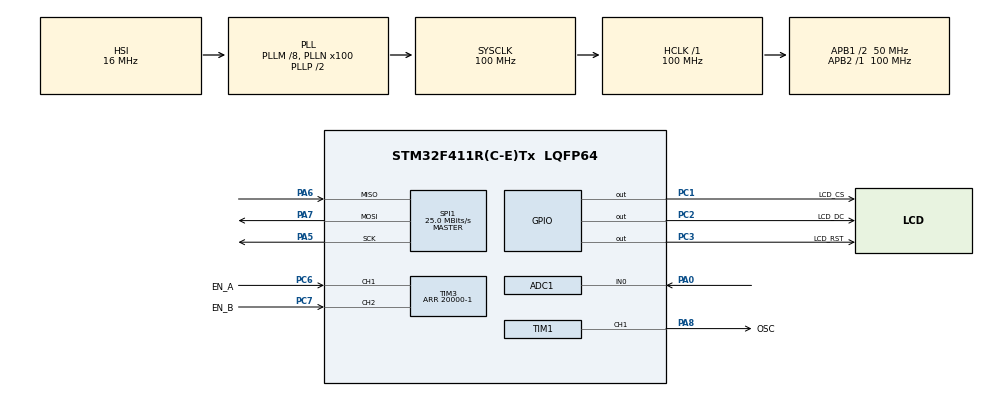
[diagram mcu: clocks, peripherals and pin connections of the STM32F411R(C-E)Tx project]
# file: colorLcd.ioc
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ADC1.Channel-0\#ChannelRegularConversion=ADC_CHANNEL_0
ADC1.ContinuousConvMode=DISABLE
ADC1.DMAContinuousRequests=ENABLE
ADC1.ExternalTrigConv=ADC_EXTERNALTRIGCONV_T2_TRGO
ADC1.NbrOfConversionFlag=1
ADC1.Rank-0\#ChannelRegularConversion=1
ADC1.SamplingTime-0\#ChannelRegularConversion=ADC_SAMPLETIME_3CYCLES
ADC1.master=1
Dma.ADC1.1.Direction=DMA_PERIPH_TO_MEMORY
Dma.ADC1.1.FIFOMode=DMA_FIFOMODE_DISABLE
Dma.ADC1.1.Instance=DMA2_Stream0
Dma.ADC1.1.MemDataAlignment=DMA_MDATAALIGN_HALFWORD
Dma.ADC1.1.MemInc=DMA_MINC_ENABLE
Dma.ADC1.1.Mode=DMA_CIRCULAR
Dma.ADC1.1.PeriphDataAlignment=DMA_PDATAALIGN_HALFWORD
Dma.ADC1.1.PeriphInc=DMA_PINC_DISABLE
Dma.ADC1.1.Priority=DMA_PRIORITY_LOW
Dma.Request0=SPI1_TX
Dma.Request1=ADC1
Dma.SPI1_TX.0.Direction=DMA_MEMORY_TO_PERIPH
Dma.SPI1_TX.0.FIFOMode=DMA_FIFOMODE_DISABLE
Dma.SPI1_TX.0.Instance=DMA2_Stream2
Dma.SPI1_TX.0.MemDataAlignment=DMA_MDATAALIGN_BYTE
Dma.SPI1_TX.0.MemInc=DMA_MINC_ENABLE
Dma.SPI1_TX.0.Mode=DMA_NORMAL
Dma.SPI1_TX.0.PeriphDataAlignment=DMA_PDATAALIGN_BYTE
Dma.SPI1_TX.0.PeriphInc=DMA_PINC_DISABLE
Dma.SPI1_TX.0.Priority=DMA_PRIORITY_LOW
Mcu.Family=STM32F4
Mcu.Name=STM32F411R(C-E)Tx
Mcu.Package=LQFP64
NVIC.DMA2_Stream0_IRQn=true\:0\:0\:false\:false\:true\:false\:true\:true
NVIC.DMA2_Stream2_IRQn=true\:0\:0\:false\:false\:true\:false\:true\:true
NVIC.PriorityGroup=NVIC_PRIORITYGROUP_4
NVIC.SPI1_IRQn=true\:0\:0\:false\:false\:true\:true\:true\:true
NVIC.TIM2_IRQn=true\:0\:0\:false\:false\:true\:true\:true\:true
PA0-WKUP.Signal=ADCx_IN0
PA5.Mode=Full_Duplex_Master
PA5.Signal=SPI1_SCK
PA6.Mode=Full_Duplex_Master
PA6.Signal=SPI1_MISO
PA7.Mode=Full_Duplex_Master
PA7.Signal=SPI1_MOSI
PA8.GPIO_Label=OSC
PA8.Signal=S_TIM1_CH1
PC1.GPIO_Label=LCD_CS
PC1.Signal=GPIO_Output
PC2.GPIO_Label=LCD_DC
PC2.Signal=GPIO_Output
PC3.GPIO_Label=LCD_RST
PC3.Signal=GPIO_Output
PC6.GPIO_Label=EN_A
PC6.Signal=S_TIM3_CH1
PC7.GPIO_Label=EN_B
PC7.Signal=S_TIM3_CH2
ProjectManager.HeapSize=0x200
ProjectManager.StackSize=0x400
ProjectManager.TargetToolchain=STM32CubeIDE
RCC.48MHZClocksFreq_Value=50000000
RCC.AHBFreq_Value=100000000
RCC.APB1CLKDivider=RCC_HCLK_DIV2
RCC.APB1Freq_Value=50000000
RCC.APB1TimFreq_Value=100000000
RCC.APB2Freq_Value=100000000
RCC.APB2TimFreq_Value=100000000
RCC.CortexFreq_Value=100000000
RCC.HCLKFreq_Value=100000000
RCC.HSE_VALUE=25000000
RCC.HSI_VALUE=16000000
RCC.LSE_VALUE=32768
RCC.PLLM=8
RCC.PLLN=100
RCC.SYSCLKFreq_VALUE=100000000
RCC.SYSCLKSource=RCC_SYSCLKSOURCE_PLLCLK
RCC.VCOOutputFreq_Value=200000000
SH.ADCx_IN0.0=ADC1_IN0,IN0
SH.S_TIM1_CH1.0=TIM1_CH1,PWM Generation1 CH1
SH.S_TIM3_CH1.0=TIM3_CH1,Encoder_Interface
SH.S_TIM3_CH2.0=TIM3_CH2,Encoder_Interface
SPI1.BaudRatePrescaler=SPI_BAUDRATEPRESCALER_4
SPI1.CalculateBaudRate=25.0 MBits/s
SPI1.Direction=SPI_DIRECTION_2LINES
SPI1.Mode=SPI_MODE_MASTER
SPI1.VirtualType=VM_MASTER
TIM1.Channel-PWM\ Generation1\ CH1=TIM_CHANNEL_1
TIM1.Period=1000-1
TIM1.Prescaler=100-1
TIM1.Pulse-PWM\ Generation1\ CH1=500-1
TIM2.Period=5-1
TIM2.Prescaler=100-1
TIM2.TIM_MasterOutputTrigger=TIM_TRGO_UPDATE
TIM3.EncoderMode=TIM_ENCODERMODE_TI12
TIM3.Period=20000-1
VP_TIM1_VS_ClockSourceINT.Mode=Internal
VP_TIM2_VS_ClockSourceINT.Mode=Internal
board=custom

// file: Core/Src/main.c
/* USER CODE BEGIN Header */
/**
  ******************************************************************************
  * @file           : main.c
  * @brief          : Main program body
  ******************************************************************************
  * @attention
  *
  * Copyright (c) 2024 STMicroelectronics.
  * All rights reserved.
  *
  * This software is licensed under terms that can be found in the LICENSE file
  * in the root directory of this software component.
  * If no LICENSE file comes with this software, it is provided AS-IS.
  *
  ******************************************************************************
  */
/* USER CODE END Header */
#include "main.h"

/* USER CODE BEGIN Includes */
#include <math.h>
#include "arm_math.h"
#include "ILI9341_STM32_Driver.h"
#include "ILI9341_GFX.h"
/* USER CODE END Includes */

/* USER CODE BEGIN PD */
#define PI  3.141592
/* USER CODE END PD */

ADC_HandleTypeDef hadc1;
DMA_HandleTypeDef hdma_adc1;

SPI_HandleTypeDef hspi1;
DMA_HandleTypeDef hdma_spi1_tx;

TIM_HandleTypeDef htim1;
TIM_HandleTypeDef htim2;
TIM_HandleTypeDef htim3;

/* USER CODE BEGIN PV */
/*float32_t FFT_Input_Q15_f[50];
float32_t aFFT_Input_Q15[50];*/
#define SampleFFT	512
uint16_t adcValue[SampleFFT];
uint16_t doConvert = 512;
float32_t input[SampleFFT];
float32_t output[SampleFFT/2];

/* USER CODE END PV */

void SystemClock_Config(void);
static void MX_GPIO_Init(void);
static void MX_DMA_Init(void);
static void MX_SPI1_Init(void);
static void MX_TIM3_Init(void);
static void MX_ADC1_Init(void);
static void MX_TIM1_Init(void);
static void MX_TIM2_Init(void);

/* USER CODE BEGIN 0 */
void HAL_TIM_PeriodElapsedCallback(TIM_HandleTypeDef *htim){
   if(htim == &htim2){
      if(doConvert > 0) doConvert--;
   }
}

void ILI9341_DrawGradLine(uint16_t x, uint16_t y, uint16_t base, uint8_t gradient, uint16_t color)
{
    if((x >=320) || (y >=240)) return;

    /*
    uint8_t bufferX[4] = {x>>8, x, (x+1)>>8, (x+1)};
   uint8_t bufferY[4] = {y>>8, y, (y+1)>>8, (y+1)};
   uint8_t bufferC[2] = {color>>8, color};
    */

    /*
    ILI9341_DrawPixel(x, y, color);
    ILI9341_DrawPixel(x+1, y+ 1*tan(gradient*(PI/180)), color);
    ILI9341_DrawPixel(x+2, y+ 2*tan(gradient*(PI/180)), color);
    */
    //if((base > 90) || (base < -90)) return;

    if((x+base >= 320) || y+base*tan(gradient*(PI/180)) >= 240) return;

    for(int i=0; i<base; i++){
        ILI9341_DrawPixel(x+i, y+i*tan(gradient*(PI/180)), color);
    }
}
/* USER CODE END 0 */

int main(void)
{

  /* MCU Configuration--------------------------------------------------------*/

  /* Reset of all peripherals, Initializes the Flash interface and the Systick. */
  HAL_Init();

  /* Configure the system clock */
  SystemClock_Config();

  /* Initialize all configured peripherals */
  MX_GPIO_Init();
  MX_DMA_Init();
  MX_SPI1_Init();
  MX_TIM3_Init();
  MX_ADC1_Init();
  MX_TIM1_Init();
  MX_TIM2_Init();
  /* USER CODE BEGIN 2 */
  HAL_TIM_Encoder_Start(&htim3, TIM_CHANNEL_ALL);
  ILI9341_Init();
  //ILI9341_SetRotation(SCREEN_VERTICAL_2);
  ILI9341_SetRotation(1);
  ILI9341_FillScreen(WHITE);
  HAL_TIM_PWM_Start(&htim1, TIM_CHANNEL_1);
  HAL_TIM_Base_Start_IT(&htim2);
  HAL_ADC_Start_DMA(&hadc1, (uint32_t *)adcValue, 512); // 5us?�� 512번의 adc�? 진행?��?�� 배열?�� ???���?

  //arm_float_to_q15((float32_t *)&FFT_Input_Q15_f[0], (q15_t *)&aFFT_Input_Q15[0], 100);
  arm_rfft_fast_instance_f32 fftInstance;

  //ILI9341_DrawText("Hello world", FONT4, 10, 100, BLACK, WHITE);
  //HAL_Delay(2000);
  //ILI9341_FillScreen(WHITE);
  /*for (int i=0; i<5; i++) 	ILI9341_DrawLine(0, i, 319, i, RED);
  for (int i=0; i<5; i++)  	ILI9341_DrawLine(0, i+5, 319, i+5, 0xfc60);
  for (int i=0; i<5; i++)  	ILI9341_DrawLine(0, i+10, 319, i+10, 0xffe0);
  for (int i=0; i<5; i++)  	ILI9341_DrawLine(0, i+15, 319, i+15, 0x07e0);
  for (int i=0; i<5; i++)  	ILI9341_DrawLine(0, i+20, 319, i+20, 0x001f);
  for (int i=0; i<5; i++)  	ILI9341_DrawLine(0, i+25, 319, i+25, 0x781f);
  for (int i=0; i<5; i++)	ILI9341_DrawLine(0, i+30, 319, i+30, 0xf81f);
  */
  //ILI9341_DrawHollowCircle(159, 119, 100, RED);

  /* USER CODE END 2 */

  /* Infinite loop */
  /* USER CODE BEGIN WHILE */
  while (1)
  {
	  /*for(int i=0; i<10; i++){
		  char BufferText[40];
		  sprintf(BufferText, "Counting: %d", i);
		  ILI9341_DrawText(BufferText, FONT3, 10, 10, BLACK, WHITE);
		  ILI9341_DrawText(BufferText, FONT3, 10, 30, BLUE, WHITE);
		  ILI9341_DrawText(BufferText, FONT3, 10, 50, RED, WHITE);
		  ILI9341_DrawText(BufferText, FONT3, 10, 70, GREEN, WHITE);
		  ILI9341_DrawText(BufferText, FONT3, 10, 90, BLUE, BLACK);
		  ILI9341_DrawText(BufferText, FONT3, 10, 110, RED, BLACK);
		  ILI9341_DrawText(BufferText, FONT3, 10, 130, GREEN, BLACK);
	  } */
	  // rainbow line
	  /*for(int i=0; i<20; i++){
		  ILI9341_DrawHLine(10, 10+i, 300, RED);
		  ILI9341_DrawHLine(10, 30+i, 300, ORANGE);
		  ILI9341_DrawHLine(10, 50+i, 300, YELLOW);
		  ILI9341_DrawHLine(10, 70+i, 300, GREEN);
		  ILI9341_DrawHLine(10, 90+i, 300, BLUE);
		  ILI9341_DrawHLine(10, 110+i, 300, NAVY);
		  ILI9341_DrawHLine(10, 130+i, 300, PURPLE);
	  }*/
	  /*
	  for(int i=0; i<20; i++){
		  ILI9341_DrawGradLine(10+i, 50, 100, 30, RED);
	  }*/
	  /*
	  ILI9341_DrawLine(0, 50, 319, 150, RED);

	  ILI9341_DrawLine(10, 10, 110, 110, RED);
	  ILI9341_DrawLine(50, 10, 150, 110, RED);

	  ILI9341_DrawGradLine(10, 20, 100, 45, GREEN);
	  //ILI9341_DrawLine(0, 5, 319, 5, RED);*/
	  /*static int oldX, oldY; // previous line clear
	  ILI9341_DrawLine(159, 119, oldX, oldY, WHITE);
	  int x = 159 + cos(htim3.Instance->CNT * 3.14 / 180) * 100;
	  int y = 119 - sin(htim3.Instance->CNT * 3.14 / 180) * 100;
	  ILI9341_DrawLine(159, 119, x, y, BLUE);*/
	  /*if(htim3.Instance->CNT > 65550) htim3.Instance->CNT += 360; // underflow
	  if(htim3.Instance->CNT > 359) htim3.Instance->CNT -= 360;*/
	  /*oldX = x;
	  oldY = y;

	  char str[30];
	  sprintf(str, "%05d", htim3.Instance->CNT);
	  ILI9341_DrawText(str, FONT4, 50, 50, BLACK, WHITE);
	  HAL_Delay(100);*/

	  /*
	  if(doConvert == 0){
		  doConvert = SampleFFT;
		  ILI9341_FillScreen(WHITE);
		  /*for (int x = 0; x<319; x++){
			  ILI9341_DrawLine(x, adcValue[x]/17,x+1,adcValue[x+1]/17, BLACK); //adcValue(12bit) / 240(lcd Height) = 17

		  }
		  HAL_Delay(100);*//*
		  for(int i=0; i<SampleFFT; i++){
			  input[i] = (float32_t)adcValue[i/2];
			  input[i+1] = 0;
		  }
		  arm_rfft_fast_init_f32(&fftInstance, SampleFFT);
		  arm_rfft_fast_f32(&fftInstance, input, output, 0);

		  for(int i=0; i<(SampleFFT/2); i++){
			  output[i] /= 50;
			  ILI9341_DrawLine(i, 239, i, 239-output[i], BLACK);
		  }

	  }
	  // change frequency
	  htim1.Instance->ARR = htim3.Instance->CNT;
	  htim1.Instance->CCR1 = htim1.Instance->ARR/2;
	  */

	  char str[30];
	  sprintf(str, "TIME DISPLAY");
	  ILI9341_DrawText(str, FONT4, 10, 10, BLACK, WHITE);
	  ILI9341_DrawGradLine(80, 119, 120, 45, GREEN);
	  ILI9341_DrawGradLine(80, 119, 120, 135, GREEN);
	  ILI9341_DrawLine(200, 0, 200, 79, GREEN);
	  ILI9341_DrawLine(200, 160, 200, 239, GREEN);
	  ILI9341_DrawLine(200, 80, 319, 80, GREEN);
	  ILI9341_DrawLine(200, 160, 319, 160, GREEN);

    /* USER CODE END WHILE */

  }
}

void SystemClock_Config(void)
{
  RCC_OscInitTypeDef RCC_OscInitStruct = {0};
  RCC_ClkInitTypeDef RCC_ClkInitStruct = {0};

  /** Configure the main internal regulator output voltage
  */
  __HAL_RCC_PWR_CLK_ENABLE();
  __HAL_PWR_VOLTAGESCALING_CONFIG(PWR_REGULATOR_VOLTAGE_SCALE1);

  /** Initializes the RCC Oscillators according to the specified parameters
  * in the RCC_OscInitTypeDef structure.
  */
  RCC_OscInitStruct.OscillatorType = RCC_OSCILLATORTYPE_HSI;
  RCC_OscInitStruct.HSIState = RCC_HSI_ON;
  RCC_OscInitStruct.HSICalibrationValue = RCC_HSICALIBRATION_DEFAULT;
  RCC_OscInitStruct.PLL.PLLState = RCC_PLL_ON;
  RCC_OscInitStruct.PLL.PLLSource = RCC_PLLSOURCE_HSI;
  RCC_OscInitStruct.PLL.PLLM = 8;
  RCC_OscInitStruct.PLL.PLLN = 100;
  RCC_OscInitStruct.PLL.PLLP = RCC_PLLP_DIV2;
  RCC_OscInitStruct.PLL.PLLQ = 4;
  if (HAL_RCC_OscConfig(&RCC_OscInitStruct) != HAL_OK)
  {
    Error_Handler();
  }

  /** Initializes the CPU, AHB and APB buses clocks
  */
  RCC_ClkInitStruct.ClockType = RCC_CLOCKTYPE_HCLK|RCC_CLOCKTYPE_SYSCLK
                              |RCC_CLOCKTYPE_PCLK1|RCC_CLOCKTYPE_PCLK2;
  RCC_ClkInitStruct.SYSCLKSource = RCC_SYSCLKSOURCE_PLLCLK;
  RCC_ClkInitStruct.AHBCLKDivider = RCC_SYSCLK_DIV1;
  RCC_ClkInitStruct.APB1CLKDivider = RCC_HCLK_DIV2;
  RCC_ClkInitStruct.APB2CLKDivider = RCC_HCLK_DIV1;

  if (HAL_RCC_ClockConfig(&RCC_ClkInitStruct, FLASH_LATENCY_3) != HAL_OK)
  {
    Error_Handler();
  }
}

static void MX_ADC1_Init(void)
{

  ADC_ChannelConfTypeDef sConfig = {0};

  /** Configure the global features of the ADC (Clock, Resolution, Data Alignment and number of conversion)
  */
  hadc1.Instance = ADC1;
  hadc1.Init.ClockPrescaler = ADC_CLOCK_SYNC_PCLK_DIV4;
  hadc1.Init.Resolution = ADC_RESOLUTION_12B;
  hadc1.Init.ScanConvMode = DISABLE;
  hadc1.Init.ContinuousConvMode = DISABLE;
  hadc1.Init.DiscontinuousConvMode = DISABLE;
  hadc1.Init.ExternalTrigConvEdge = ADC_EXTERNALTRIGCONVEDGE_RISING;
  hadc1.Init.ExternalTrigConv = ADC_EXTERNALTRIGCONV_T2_TRGO;
  hadc1.Init.DataAlign = ADC_DATAALIGN_RIGHT;
  hadc1.Init.NbrOfConversion = 1;
  hadc1.Init.DMAContinuousRequests = ENABLE;
  hadc1.Init.EOCSelection = ADC_EOC_SINGLE_CONV;
  if (HAL_ADC_Init(&hadc1) != HAL_OK)
  {
    Error_Handler();
  }

  /** Configure for the selected ADC regular channel its corresponding rank in the sequencer and its sample time.
  */
  sConfig.Channel = ADC_CHANNEL_0;
  sConfig.Rank = 1;
  sConfig.SamplingTime = ADC_SAMPLETIME_3CYCLES;
  if (HAL_ADC_ConfigChannel(&hadc1, &sConfig) != HAL_OK)
  {
    Error_Handler();
  }

}

static void MX_SPI1_Init(void)
{

  /* SPI1 parameter configuration*/
  hspi1.Instance = SPI1;
  hspi1.Init.Mode = SPI_MODE_MASTER;
  hspi1.Init.Direction = SPI_DIRECTION_2LINES;
  hspi1.Init.DataSize = SPI_DATASIZE_8BIT;
  hspi1.Init.CLKPolarity = SPI_POLARITY_LOW;
  hspi1.Init.CLKPhase = SPI_PHASE_1EDGE;
  hspi1.Init.NSS = SPI_NSS_SOFT;
  hspi1.Init.BaudRatePrescaler = SPI_BAUDRATEPRESCALER_4;
  hspi1.Init.FirstBit = SPI_FIRSTBIT_MSB;
  hspi1.Init.TIMode = SPI_TIMODE_DISABLE;
  hspi1.Init.CRCCalculation = SPI_CRCCALCULATION_DISABLE;
  hspi1.Init.CRCPolynomial = 10;
  if (HAL_SPI_Init(&hspi1) != HAL_OK)
  {
    Error_Handler();
  }

}

static void MX_TIM1_Init(void)
{

  TIM_ClockConfigTypeDef sClockSourceConfig = {0};
  TIM_MasterConfigTypeDef sMasterConfig = {0};
  TIM_OC_InitTypeDef sConfigOC = {0};
  TIM_BreakDeadTimeConfigTypeDef sBreakDeadTimeConfig = {0};

  htim1.Instance = TIM1;
  htim1.Init.Prescaler = 100-1;
  htim1.Init.CounterMode = TIM_COUNTERMODE_UP;
  htim1.Init.Period = 1000-1;
  htim1.Init.ClockDivision = TIM_CLOCKDIVISION_DIV1;
  htim1.Init.RepetitionCounter = 0;
  htim1.Init.AutoReloadPreload = TIM_AUTORELOAD_PRELOAD_DISABLE;
  if (HAL_TIM_Base_Init(&htim1) != HAL_OK)
  {
    Error_Handler();
  }
  sClockSourceConfig.ClockSource = TIM_CLOCKSOURCE_INTERNAL;
  if (HAL_TIM_ConfigClockSource(&htim1, &sClockSourceConfig) != HAL_OK)
  {
    Error_Handler();
  }
  if (HAL_TIM_PWM_Init(&htim1) != HAL_OK)
  {
    Error_Handler();
  }
  sMasterConfig.MasterOutputTrigger = TIM_TRGO_RESET;
  sMasterConfig.MasterSlaveMode = TIM_MASTERSLAVEMODE_DISABLE;
  if (HAL_TIMEx_MasterConfigSynchronization(&htim1, &sMasterConfig) != HAL_OK)
  {
    Error_Handler();
  }
  sConfigOC.OCMode = TIM_OCMODE_PWM1;
  sConfigOC.Pulse = 500-1;
  sConfigOC.OCPolarity = TIM_OCPOLARITY_HIGH;
  sConfigOC.OCNPolarity = TIM_OCNPOLARITY_HIGH;
  sConfigOC.OCFastMode = TIM_OCFAST_DISABLE;
  sConfigOC.OCIdleState = TIM_OCIDLESTATE_RESET;
  sConfigOC.OCNIdleState = TIM_OCNIDLESTATE_RESET;
  if (HAL_TIM_PWM_ConfigChannel(&htim1, &sConfigOC, TIM_CHANNEL_1) != HAL_OK)
  {
    Error_Handler();
  }
  sBreakDeadTimeConfig.OffStateRunMode = TIM_OSSR_DISABLE;
  sBreakDeadTimeConfig.OffStateIDLEMode = TIM_OSSI_DISABLE;
  sBreakDeadTimeConfig.LockLevel = TIM_LOCKLEVEL_OFF;
  sBreakDeadTimeConfig.DeadTime = 0;
  sBreakDeadTimeConfig.BreakState = TIM_BREAK_DISABLE;
  sBreakDeadTimeConfig.BreakPolarity = TIM_BREAKPOLARITY_HIGH;
  sBreakDeadTimeConfig.AutomaticOutput = TIM_AUTOMATICOUTPUT_DISABLE;
  if (HAL_TIMEx_ConfigBreakDeadTime(&htim1, &sBreakDeadTimeConfig) != HAL_OK)
  {
    Error_Handler();
  }
  HAL_TIM_MspPostInit(&htim1);

}

static void MX_TIM2_Init(void)
{

  TIM_ClockConfigTypeDef sClockSourceConfig = {0};
  TIM_MasterConfigTypeDef sMasterConfig = {0};

  htim2.Instance = TIM2;
  htim2.Init.Prescaler = 100-1;
  htim2.Init.CounterMode = TIM_COUNTERMODE_UP;
  htim2.Init.Period = 5-1;
  htim2.Init.ClockDivision = TIM_CLOCKDIVISION_DIV1;
  htim2.Init.AutoReloadPreload = TIM_AUTORELOAD_PRELOAD_DISABLE;
  if (HAL_TIM_Base_Init(&htim2) != HAL_OK)
  {
    Error_Handler();
  }
  sClockSourceConfig.ClockSource = TIM_CLOCKSOURCE_INTERNAL;
  if (HAL_TIM_ConfigClockSource(&htim2, &sClockSourceConfig) != HAL_OK)
  {
    Error_Handler();
  }
  sMasterConfig.MasterOutputTrigger = TIM_TRGO_UPDATE;
  sMasterConfig.MasterSlaveMode = TIM_MASTERSLAVEMODE_DISABLE;
  if (HAL_TIMEx_MasterConfigSynchronization(&htim2, &sMasterConfig) != HAL_OK)
  {
    Error_Handler();
  }

}

static void MX_TIM3_Init(void)
{

  TIM_Encoder_InitTypeDef sConfig = {0};
  TIM_MasterConfigTypeDef sMasterConfig = {0};

  htim3.Instance = TIM3;
  htim3.Init.Prescaler = 0;
  htim3.Init.CounterMode = TIM_COUNTERMODE_UP;
  htim3.Init.Period = 20000-1;
  htim3.Init.ClockDivision = TIM_CLOCKDIVISION_DIV1;
  htim3.Init.AutoReloadPreload = TIM_AUTORELOAD_PRELOAD_DISABLE;
  sConfig.EncoderMode = TIM_ENCODERMODE_TI12;
  sConfig.IC1Polarity = TIM_ICPOLARITY_RISING;
  sConfig.IC1Selection = TIM_ICSELECTION_DIRECTTI;
  sConfig.IC1Prescaler = TIM_ICPSC_DIV1;
  sConfig.IC1Filter = 0;
  sConfig.IC2Polarity = TIM_ICPOLARITY_RISING;
  sConfig.IC2Selection = TIM_ICSELECTION_DIRECTTI;
  sConfig.IC2Prescaler = TIM_ICPSC_DIV1;
  sConfig.IC2Filter = 0;
  if (HAL_TIM_Encoder_Init(&htim3, &sConfig) != HAL_OK)
  {
    Error_Handler();
  }
  sMasterConfig.MasterOutputTrigger = TIM_TRGO_RESET;
  sMasterConfig.MasterSlaveMode = TIM_MASTERSLAVEMODE_DISABLE;
  if (HAL_TIMEx_MasterConfigSynchronization(&htim3, &sMasterConfig) != HAL_OK)
  {
    Error_Handler();
  }

}

static void MX_DMA_Init(void)
{

  /* DMA controller clock enable */
  __HAL_RCC_DMA2_CLK_ENABLE();

  /* DMA interrupt init */
  /* DMA2_Stream0_IRQn interrupt configuration */
  HAL_NVIC_SetPriority(DMA2_Stream0_IRQn, 0, 0);
  HAL_NVIC_EnableIRQ(DMA2_Stream0_IRQn);
  /* DMA2_Stream2_IRQn interrupt configuration */
  HAL_NVIC_SetPriority(DMA2_Stream2_IRQn, 0, 0);
  HAL_NVIC_EnableIRQ(DMA2_Stream2_IRQn);

}

static void MX_GPIO_Init(void)
{
  GPIO_InitTypeDef GPIO_InitStruct = {0};

  /* GPIO Ports Clock Enable */
  __HAL_RCC_GPIOC_CLK_ENABLE();
  __HAL_RCC_GPIOA_CLK_ENABLE();

  /*Configure GPIO pin Output Level */
  HAL_GPIO_WritePin(GPIOC, LCD_CS_Pin|LCD_DC_Pin|LCD_RST_Pin, GPIO_PIN_RESET);

  /*Configure GPIO pins : LCD_CS_Pin LCD_DC_Pin LCD_RST_Pin */
  GPIO_InitStruct.Pin = LCD_CS_Pin|LCD_DC_Pin|LCD_RST_Pin;
  GPIO_InitStruct.Mode = GPIO_MODE_OUTPUT_PP;
  GPIO_InitStruct.Pull = GPIO_NOPULL;
  GPIO_InitStruct.Speed = GPIO_SPEED_FREQ_LOW;
  HAL_GPIO_Init(GPIOC, &GPIO_InitStruct);

}

void Error_Handler(void)
{
  __disable_irq();
  while (1)
  {
  }
}
